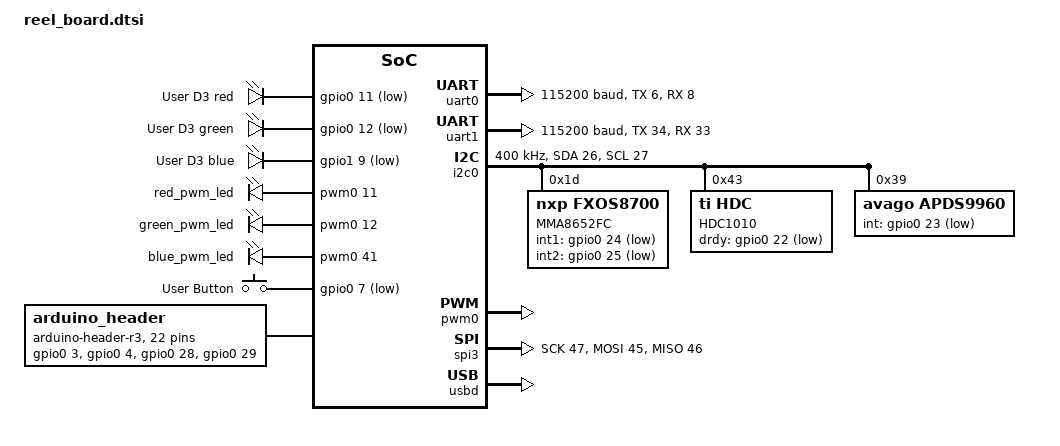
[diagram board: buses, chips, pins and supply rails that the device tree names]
/*
 * Copyright (c) 2018 Phytec Messtechnik GmbH
 * Copyright (c) 2017 Linaro Limited
 *
 * SPDX-License-Identifier: Apache-2.0
 */

/ {
	leds {
		compatible = "gpio-leds";
		red_led: led_0 {
			gpios = <&gpio0 11 GPIO_ACTIVE_LOW>;
			label = "User D3 red";
		};
		green_led: led_1 {
			gpios = <&gpio0 12 GPIO_ACTIVE_LOW>;
			label = "User D3 green";
		};
		blue_led: led_2 {
			gpios = <&gpio1 9 GPIO_ACTIVE_LOW>;
			label = "User D3 blue";
		};
	};

	pwmleds {
		compatible = "pwm-leds";
		red_pwm_led: pwm_led_0 {
			pwms = <&pwm0 11>;
		};
		green_pwm_led: pwm_led_1 {
			pwms = <&pwm0 12>;
		};
		blue_pwm_led: pwm_led_2 {
			pwms = <&pwm0 41>;
		};
	};

	gpio_keys {
		compatible = "gpio-keys";
		user_button: button_0 {
			gpios = <&gpio0 7 (GPIO_PULL_UP | GPIO_ACTIVE_LOW)>;
			label = "User Button";
		};
	};

	arduino_header: connector {
		compatible = "arduino-header-r3";
		#gpio-cells = <2>;
		gpio-map-mask = <0xffffffff 0xffffffc0>;
		gpio-map-pass-thru = <0 0x3f>;
		gpio-map = <0 0 &gpio0 3 0>,	/* A0 */
			   <1 0 &gpio0 4 0>,	/* A1 */
			   <2 0 &gpio0 28 0>,	/* A2 */
			   <3 0 &gpio0 29 0>,	/* A3 */
			   <4 0 &gpio0 30 0>,	/* A4 */
			   <5 0 &gpio0 31 0>,	/* A5 */
			   <6 0 &gpio1 1 0>,	/* D0 */
			   <7 0 &gpio1 2 0>,	/* D1 */
			   <8 0 &gpio1 3 0>,	/* D2 */
			   <9 0 &gpio1 4 0>,	/* D3 */
			   <10 0 &gpio1 5 0>,	/* D4 */
			   <11 0 &gpio1 6 0>,	/* D5 */
			   <12 0 &gpio1 7 0>,	/* D6 */
			   <13 0 &gpio1 8 0>,	/* D7 */
			   <14 0 &gpio1 10 0>,	/* D8 */
			   <15 0 &gpio1 11 0>,	/* D9 */
			   <16 0 &gpio1 12 0>,	/* D10 */
			   <17 0 &gpio1 13 0>,	/* D11 */
			   <18 0 &gpio1 14 0>,	/* D12 */
			   <19 0 &gpio1 15 0>,	/* D13 */
			   <20 0 &gpio0 26 0>,	/* D14 */
			   <21 0 &gpio0 27 0>;	/* D15 */
	};

	aliases {
		led0 = &red_led;
		led1 = &green_led;
		led2 = &blue_led;
		pwm-led0 = &red_pwm_led;
		pwm-led1 = &green_pwm_led;
		pwm-led2 = &blue_pwm_led;
		red-pwm-led = &red_pwm_led;
		green-pwm-led = &green_pwm_led;
		blue-pwm-led = &blue_pwm_led;
		sw0 = &user_button;
	};
};

&gpiote {
	status = "okay";
};

&gpio0 {
	status = "okay";
};

&gpio1 {
	status = "okay";
};

&uart0 {
	compatible = "nordic,nrf-uart";
	current-speed = <115200>;
	status = "okay";
	tx-pin = <6>;
	rx-pin = <8>;
};

arduino_serial: &uart1 {
	status = "okay";
	current-speed = <115200>;
	rx-pin = <33>;
	tx-pin = <34>;
};

arduino_i2c: &i2c0 {
	compatible = "nordic,nrf-twim";
	status = "okay";
	clock-frequency = <I2C_BITRATE_FAST>;
	sda-pin = <26>;
	scl-pin = <27>;

	mma8652fc@1d {
		compatible = "nxp,fxos8700","nxp,mma8652fc";
		reg = <0x1d>;
		label = "MMA8652FC";
		int1-gpios = <&gpio0 24 GPIO_ACTIVE_LOW>;
		int2-gpios = <&gpio0 25 GPIO_ACTIVE_LOW>;
	};

	ti_hdc@43 {
		compatible = "ti,hdc","ti,hdc1010";
		reg = <0x43>;
		label = "HDC1010";
		drdy-gpios = <&gpio0 22 (GPIO_ACTIVE_LOW | GPIO_PULL_UP)>;
	};

	apds9960@39 {
		compatible = "avago,apds9960";
		reg = <0x39>;
		label = "APDS9960";
		int-gpios = <&gpio0 23 (GPIO_ACTIVE_LOW | GPIO_PULL_UP)>;
	};
};

&pwm0 {
	status = "okay";
	ch0-pin = <13>;
	ch1-pin = <11>;
	ch1-inverted;
	ch2-pin = <12>;
	ch2-inverted;
	ch3-pin = <41>;
	ch3-inverted;
};

arduino_spi: &spi3 {
	status = "okay";
	sck-pin = <47>;
	miso-pin = <46>;
	mosi-pin = <45>;
	cs-gpios = <&arduino_header 16 GPIO_ACTIVE_LOW>; /* D10 */
};

&flash0 {

	partitions {
		compatible = "fixed-partitions";
		#address-cells = <1>;
		#size-cells = <1>;

		boot_partition: partition@0 {
			label = "mcuboot";
			reg = <0x000000000 0x0000C000>;
		};
		slot0_partition: partition@c000 {
			label = "image-0";
			reg = <0x0000C000 0x00067000>;
		};
		slot1_partition: partition@73000 {
			label = "image-1";
			reg = <0x00073000 0x00067000>;
		};
		scratch_partition: partition@da000 {
			label = "image-scratch";
			reg = <0x000da000 0x0001e000>;
		};

		/*
		 * The flash starting at 0x000f8000 and ending at
		 * 0x000fffff is reserved for use by the application.
		 */

		/*
		 * Storage partition will be used by FCB/LittleFS/NVS
		 * if enabled.
		 */
		storage_partition: partition@f8000 {
			label = "storage";
			reg = <0x000f8000 0x00008000>;
		};
	};
};

&usbd {
	compatible = "nordic,nrf-usbd";
	status = "okay";
};
